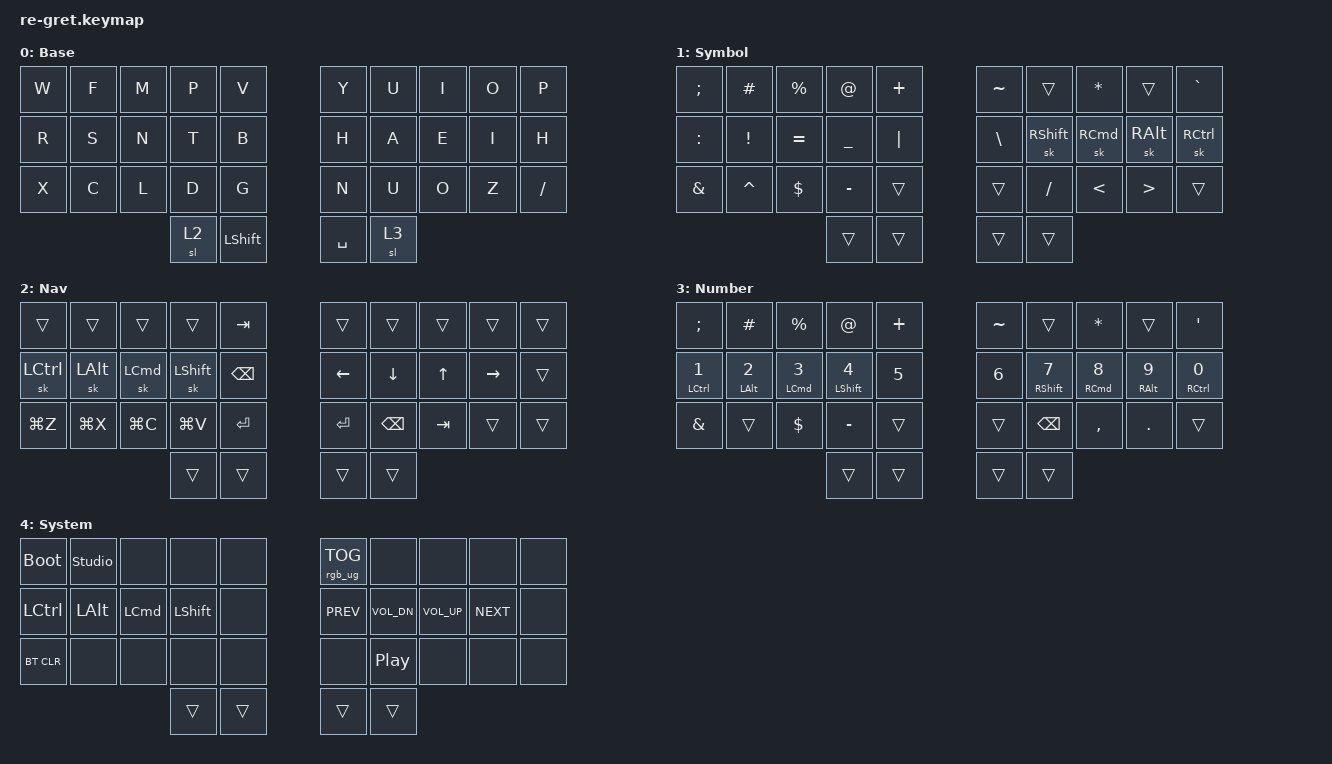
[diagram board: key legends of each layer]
#include <behaviors.dtsi>
#include <dt-bindings/zmk/bt.h>
#include <dt-bindings/zmk/keys.h>
#include <dt-bindings/zmk/rgb.h>

/ {
    behaviors {
        hm: homerow_mods {
            compatible = "zmk,behavior-hold-tap";
            #binding-cells = <2>;
            tapping-term-ms = <200>;
            flavor = "tap-preferred";
            bindings = <&kp>, <&kp>;
        };
    };

    conditional_layers {
        compatible = "zmk,conditional-layers";

        tri_layer {
            if-layers = <1 2>;
            then-layer = <3>;
        };
    };

    combos {
        compatible = "zmk,combos";

        // Activate system layer on inner thumbs

        sys_l {
            key-positions = <31 32>;
            bindings = <&mo 4>;
            require-prior-idle-ms = <175>;
        };

        ret {
            key-positions = <6 7 8>;
            bindings = <&kp RET>;
        };

        esc {
            key-positions = <1 2>;
            bindings = <&kp ESC>;
            require-prior-idle-ms = <175>;
        };

        bsp {
            key-positions = <26 27>;
            bindings = <&kp BSPC>;
            require-prior-idle-ms = <175>;
        };

        semi {
            key-positions = <27 28>;
            bindings = <&kp SEMI>;
            require-prior-idle-ms = <175>;
        };

        // Brackets and parens

        vlbkt {
            key-positions = <1 11>;
            bindings = <&kp LBKT>;
            require-prior-idle-ms = <175>;
        };

        vlpar {
            key-positions = <2 12>;
            bindings = <&kp LPAR>;
            require-prior-idle-ms = <175>;
        };

        vlbrc {
            key-positions = <3 13>;
            bindings = <&kp LBRC>;
            require-prior-idle-ms = <175>;
        };

        vrbrc {
            key-positions = <6 16>;
            bindings = <&kp RBRC>;
            require-prior-idle-ms = <175>;
        };

        vrpar {
            key-positions = <7 17>;
            bindings = <&kp RPAR>;
            require-prior-idle-ms = <175>;
        };

        vrbkt {
            key-positions = <8 18>;
            bindings = <&kp RBKT>;
            require-prior-idle-ms = <175>;
        };
    };

    keymap {
        compatible = "zmk,keymap";

        default_layer {
            display-name = "Base";
            bindings = <
&kp W  &kp F  &kp M  &kp P  &kp V           &kp Y      &kp U  &kp I  &kp O  &kp P
&kp R  &kp S  &kp N  &kp T  &kp B           &kp H      &kp A  &kp E  &kp I  &kp H
&kp X  &kp C  &kp L  &kp D  &kp G           &kp N      &kp U  &kp O  &kp Z  &kp FSLH
                     &sl 2  &kp LEFT_SHIFT  &kp SPACE  &sl 3
            >;
        };

        sym_layer {
            display-name = "Symbol";
            bindings = <
&kp SEMI   &kp HASH   &kp PRCNT  &kp AT     &kp PLUS  &kp TILDE  &trans     &kp STAR  &trans    &kp GRAVE
&kp COLON  &kp EXCL   &kp EQUAL  &kp UNDER  &kp PIPE  &kp BSLH   &sk RSHFT  &sk RCMD  &sk RALT  &sk RCTRL
&kp AMPS   &kp CARET  &kp DLLR   &kp MINUS  &trans    &trans     &kp FSLH   &kp LT    &kp GT    &trans
                                 &trans     &trans    &trans     &trans
            >;
        };

        nav_layer {
            display-name = "Nav";
            bindings = <
&trans     &trans     &trans     &trans     &kp TAB   &trans    &trans    &trans   &trans     &trans
&sk LCTRL  &sk LALT   &sk LCMD   &sk LSHFT  &kp BSPC  &kp LEFT  &kp DOWN  &kp UP   &kp RIGHT  &trans
&kp LG(Z)  &kp LG(X)  &kp LG(C)  &kp LG(V)  &kp RET   &kp RET   &kp BSPC  &kp TAB  &trans     &trans
                                 &trans     &trans    &trans    &trans
            >;
        };

        num_layer {
            display-name = "Number";
            bindings = <
&kp SEMI      &kp HASH     &kp PRCNT    &kp AT        &kp PLUS  &kp TILDE  &trans        &kp STAR     &trans       &kp SQT
&hm LCTRL N1  &hm LALT N2  &hm LCMD N3  &hm LSHFT N4  &kp N5    &kp N6     &hm RSHFT N7  &hm RCMD N8  &hm RALT N9  &hm RCTRL N0
&kp AMPS      &trans       &kp DLLR     &kp MINUS     &trans    &trans     &kp BSPC      &kp COMMA    &kp PERIOD   &trans
                                        &trans        &trans    &trans     &trans
            >;
        };

        system_layer {
            display-name = "System";
            bindings = <
&bootloader  &studio_unlock  &none     &none      &none   &rgb_ug RGB_TOG  &none         &none         &none       &none
&kp LCTRL    &kp LALT        &kp LCMD  &kp LSHFT  &none   &kp C_PREV       &kp C_VOL_DN  &kp C_VOL_UP  &kp C_NEXT  &none
&bt BT_CLR   &none           &none     &none      &none   &none            &kp C_PP      &none         &none       &none
                                       &trans     &trans  &trans           &trans
            >;
        };
    };
};
